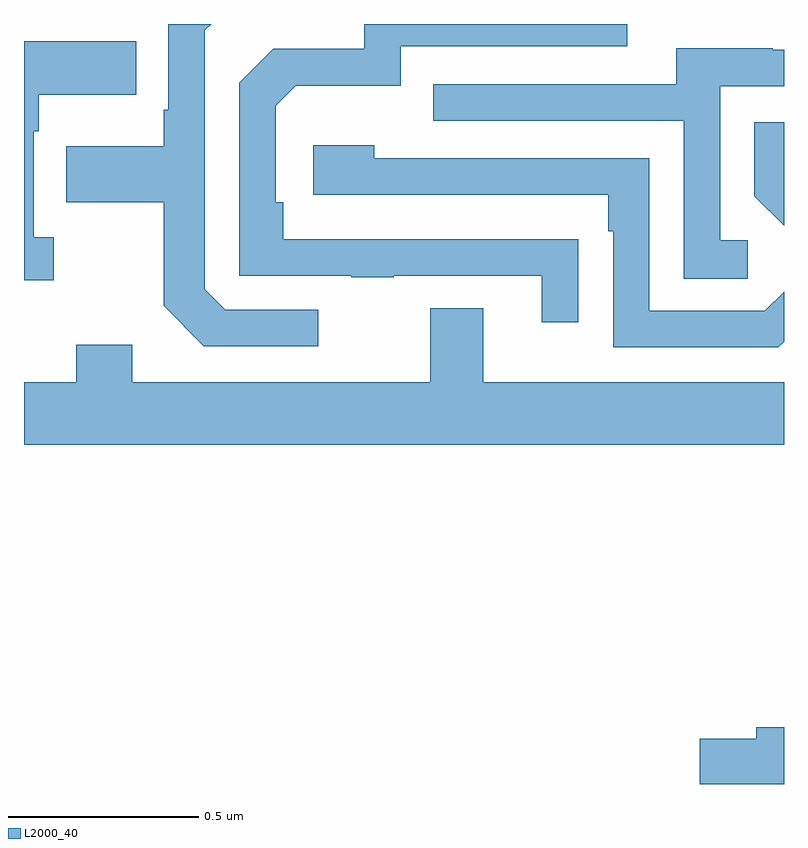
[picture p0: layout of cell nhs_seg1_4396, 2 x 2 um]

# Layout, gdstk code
import gdstk
lib = gdstk.Library(unit=1e-6, precision=1e-09)
def P(c, l, *ps):  # polygons
    for p in ps: c.add(gdstk.Polygon(p, *l))
L2000_40 = (2000, 40)

nhs_seg1_4396 = lib.new_cell('nhs_seg1_4396')
P(nhs_seg1_4396, L2000_40, [(166.774,525.447),(166.53,525.447),(166.476,525.501),(166.476,526.182),(166.493,526.199),(166.38,526.199),(166.38,525.973),(166.368,525.973),(166.368,525.877),(166.111,525.877),(166.111,525.73),(166.368,525.73),(166.368,525.457),(166.473,525.351),(166.774,525.351)],
  [(167.459,525.632),(167.357,525.632),(167.357,525.633),(166.682,525.633),(166.682,525.73),(166.662,525.73),(166.662,525.984),(166.715,526.037),(166.992,526.037),(166.992,526.14),(167.587,526.14),(167.587,526.199),(166.896,526.199),(166.896,526.134),(166.656,526.134),(166.566,526.044),(166.566,525.537),(166.861,525.537),(166.861,525.532),(166.973,525.532),(166.973,525.537),(167.363,525.537),(167.363,525.414),(167.459,525.414)],
  [(166.078,525.638),(166.026,525.638),(166.026,525.917),(166.039,525.917),(166.039,526.013),(166.295,526.013),(166.295,526.153),(166,526.153),(166,525.525),(166.078,525.525)],
  [(167.905,525.63),(167.832,525.63),(167.832,526.035),(168,526.035),(168,526.131),(167.971,526.131),(167.971,526.135),(167.717,526.135),(167.717,526.041),(167.077,526.041),(167.077,525.945),(167.736,525.945),(167.736,525.529),(167.905,525.529)],
  [(168,525.94),(167.922,525.94),(167.922,525.746),(168,525.668)],
  [(168,525.363),(168,525.495),(167.949,525.444),(167.646,525.444),(167.646,525.846),(166.922,525.846),(166.922,525.88),(166.761,525.88),(166.761,525.75),(167.537,525.75),(167.537,525.653),(167.55,525.653),(167.55,525.348),(167.985,525.348)],
  [(168,525.256),(167.209,525.256),(167.209,525.451),(167.069,525.451),(167.069,525.256),(166.285,525.256),(166.285,525.355),(166.138,525.355),(166.138,525.256),(166,525.256),(166,525.092),(168,525.092)],
  [(168,524.348),(167.927,524.348),(167.927,524.318),(167.778,524.318),(167.778,524.199),(168,524.199)])

lib.write_gds('nhs_seg1_4396.gds')
